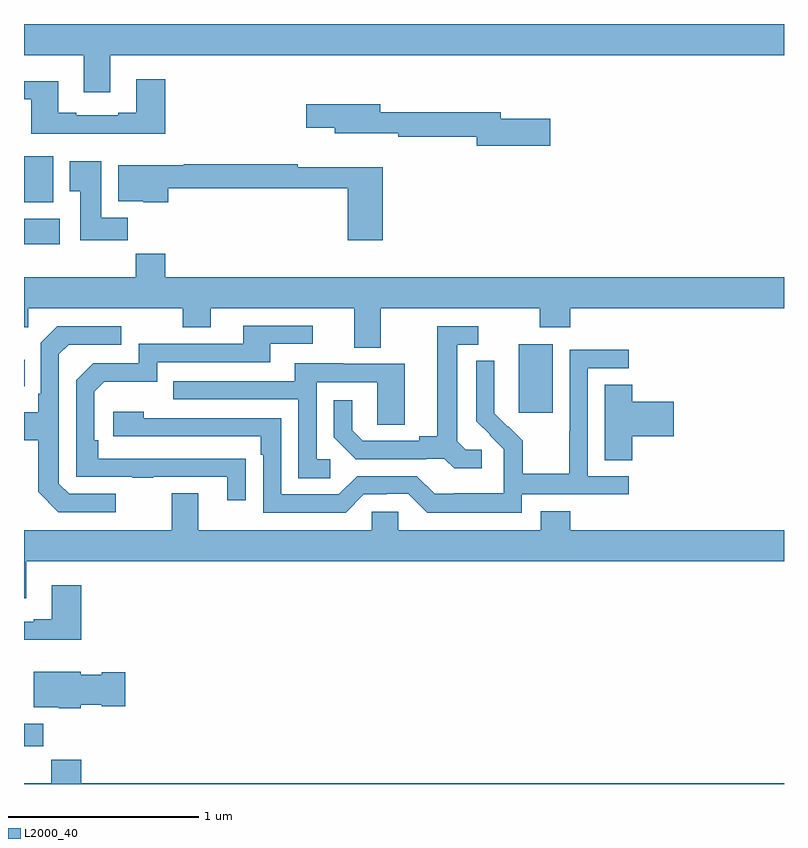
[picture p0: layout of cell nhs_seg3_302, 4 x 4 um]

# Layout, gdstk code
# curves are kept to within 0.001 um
import gdstk
lib = gdstk.Library(unit=1e-6, precision=1e-09)
def R(c, l, rs):  # rectangles x0, y0, x1, y1
    for r in rs: c.add(gdstk.rectangle(r[:2], r[2:], *l))
def P(c, l, *ps):  # polygons
    for p in ps: c.add(gdstk.Polygon(p, *l))
L2000_40 = (2000, 40)

nhs_seg3_302 = lib.new_cell('nhs_seg3_302')
R(nhs_seg3_302, L2000_40, [(125,710.598,125.102,710.716), (127.604,712.353,127.783,712.714), (125,712.493,125.003,712.633), (125,713.24,125.188,713.374), (125,713.462,125.155,713.704)])
P(nhs_seg3_302, L2000_40, [(125.455,714.236),(129,714.236),(129,714.4),(125,714.4),(125,714.236),(125.315,714.236),(125.315,714.042),(125.455,714.042)],
  [(125.744,714.109),(125.591,714.109),(125.591,713.932),(125.495,713.932),(125.495,713.919),(125.275,713.919),(125.275,713.932),(125.179,713.932),(125.179,714.1),(125,714.1),(125,714.003),(125.039,714.003),(125.039,713.822),(125.744,713.822)],
  [(127.771,713.901),(127.51,713.901),(127.51,713.935),(126.874,713.935),(126.874,713.977),(126.486,713.977),(126.486,713.855),(126.635,713.855),(126.635,713.825),(126.97,713.825),(126.97,713.806),(127.382,713.806),(127.382,713.759),(127.771,713.759)],
  [(125.546,713.38),(125.407,713.38),(125.407,713.677),(125.24,713.677),(125.24,713.521),(125.297,713.521),(125.297,713.262),(125.546,713.262)],
  [(126.887,713.645),(126.44,713.645),(126.44,713.663),(125.842,713.663),(125.842,713.656),(125.495,713.656),(125.495,713.468),(125.628,713.468),(125.628,713.462),(125.759,713.462),(125.759,713.535),(126.704,713.535),(126.704,713.262),(126.887,713.262)],
  [(126.877,712.904),(127.714,712.904),(127.714,712.805),(127.874,712.805),(127.874,712.904),(129,712.904),(129,713.068),(125.744,713.068),(125.744,713.192),(125.587,713.192),(125.587,713.068),(125,713.068),(125,712.805),(125.022,712.805),(125.022,712.904),(125.836,712.904),(125.836,712.805),(125.983,712.805),(125.983,712.904),(126.737,712.904),(126.737,712.696),(126.877,712.696)],
  [(126.167,712.112),(125.39,712.113),(125.39,712.21),(125.37,712.21),(125.37,712.464),(125.423,712.517),(125.7,712.517),(125.7,712.62),(126.295,712.62),(126.295,712.716),(126.52,712.716),(126.52,712.812),(126.155,712.812),(126.155,712.716),(125.604,712.716),(125.604,712.614),(125.364,712.614),(125.274,712.524),(125.274,712.017),(125.569,712.017),(125.569,712.012),(125.681,712.012),(125.681,712.017),(126.071,712.017),(126.071,711.894),(126.167,711.894)],
  [(127.408,712.158),(127.326,712.158),(127.279,712.205),(127.279,712.713),(127.39,712.713),(127.39,712.809),(127.175,712.809),(127.175,712.229),(127.079,712.229),(127.079,712.206),(126.784,712.206),(126.727,712.263),(126.727,712.42),(126.63,712.42),(126.63,712.226),(126.746,712.11),(127.118,712.11),(127.118,712.113),(127.212,712.113),(127.264,712.061),(127.408,712.061)],
  [(125.482,711.927),(125.238,711.927),(125.184,711.981),(125.184,712.662),(125.235,712.713),(125.512,712.713),(125.512,712.809),(125.175,712.809),(125.088,712.722),(125.088,712.453),(125.076,712.453),(125.076,712.357),(125,712.357),(125,712.21),(125.076,712.21),(125.076,711.937),(125.181,711.831),(125.482,711.831)],
  [(127.62,711.924),(128.182,711.924),(128.182,712.02),(127.968,712.02),(127.968,712.587),(128.182,712.587),(128.182,712.686),(127.872,712.686),(127.872,712.256),(127.87,712.256),(127.87,712.033),(127.625,712.033),(127.625,712.207),(127.548,712.284),(127.545,712.281),(127.475,712.352),(127.476,712.628),(127.38,712.628),(127.38,712.31),(127.526,712.162),(127.526,712.065),(127.524,712.065),(127.524,711.931),(127.261,711.931),(127.261,711.927),(127.161,711.927),(127.068,712.02),(126.753,712.02),(126.657,711.924),(126.354,711.924),(126.354,712.326),(125.63,712.326),(125.63,712.36),(125.469,712.36),(125.469,712.23),(126.245,712.23),(126.245,712.133),(126.258,712.133),(126.258,711.828),(126.693,711.828),(126.789,711.924),(126.908,711.924),(126.908,711.927),(127.023,711.927),(127.123,711.827),(127.62,711.827)],
  [(126.613,712.11),(126.54,712.11),(126.54,712.515),(126.858,712.515),(126.858,712.291),(127.003,712.291),(127.003,712.611),(126.679,712.611),(126.679,712.615),(126.425,712.615),(126.425,712.521),(125.785,712.521),(125.785,712.425),(126.444,712.425),(126.444,712.009),(126.613,712.009)],
  [(128.201,712.229),(128.419,712.229),(128.419,712.412),(128.201,712.412),(128.201,712.502),(128.057,712.502),(128.057,712.105),(128.201,712.105)],
  [(125.011,711.572),(129,711.572),(129,711.736),(127.874,711.736),(127.874,711.835),(127.721,711.835),(127.721,711.736),(126.969,711.736),(126.969,711.834),(126.831,711.834),(126.831,711.736),(125.917,711.736),(125.917,711.931),(125.777,711.931),(125.777,711.736),(125,711.736),(125,711.378),(125.011,711.378)],
  [(125.3,711.445),(125.147,711.445),(125.147,711.268),(125.051,711.268),(125.051,711.255),(125,711.255),(125,711.158),(125.3,711.158)],
  [(125.298,710.816),(125.409,710.816),(125.409,710.809),(125.533,710.809),(125.533,710.987),(125.409,710.987),(125.409,710.974),(125.298,710.974),(125.298,710.992),(125.051,710.992),(125.051,710.804),(125.184,710.804),(125.184,710.798),(125.298,710.798)],
  [(129,710.404),(125.3,710.404),(125.3,710.528),(125.143,710.528),(125.143,710.404),(125,710.404),(125,710.4),(129,710.4)])

lib.write_gds('nhs_seg3_302.gds')
